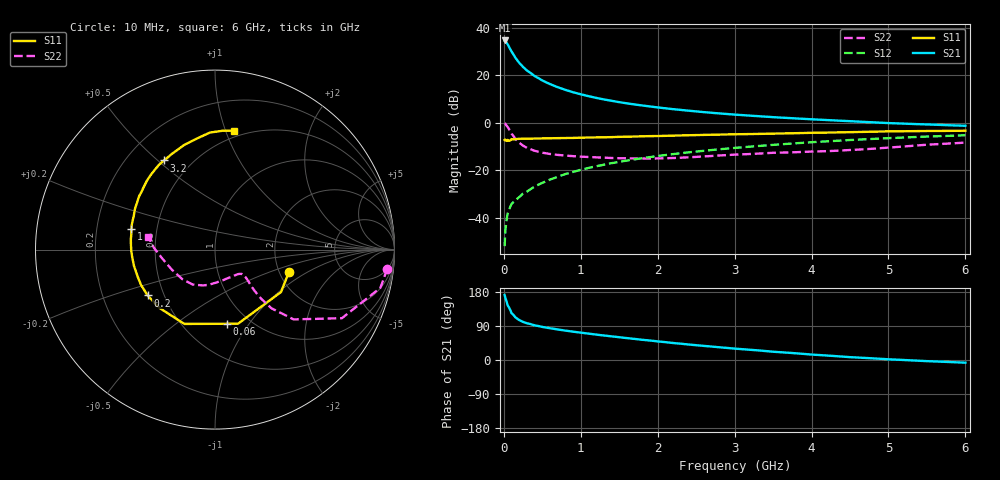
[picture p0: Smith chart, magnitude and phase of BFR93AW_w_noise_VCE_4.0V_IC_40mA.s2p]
! Infineon Technologies  Discrete & RF Semiconductors
! BFR93AW
! VCE =  4.0 V,  IC =  40 mA
! Common Emitter S-Parameters:  Jan 2017
# GHz  S  MA  R  50
!  f  S11  S21  S12  S22
! GHz  MAG  ANG  MAG  ANG  MAG  ANG  MAG  ANG
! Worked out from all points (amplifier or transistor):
!   77 points, 10 MHz to 6 GHz, reference 50 ohm
!   highest |S21| = 34.5 dB at 10 MHz (marker M1)
!   |S21| within 3 dB of that: start of sweep to 72.33 MHz
!   unconditionally stable (mu >= 1): 495.9 MHz to 2.042 GHz
!   at 130 MHz: K = 0.60, MSG = 30.9 dB, |S12| = -33.4 dB
!   at 2.2 GHz: K = 0.99, MSG = 9.5 dB, |S12| = -13.3 dB
!   at 6 GHz: K = 0.89, MSG = 2.0 dB, |S12| = -5.4 dB
!   lowest NFmin = 2.04 dB at 450 MHz
!   S11 on the Smith chart (normalised r, x): 10 MHz: 2.26, -0.68; 60 MHz: 0.79, -0.80; 200 MHz: 0.41, -0.26; 1 GHz: 0.36, +0.10; 3.2 GHz: 0.36, +0.52; 6 GHz: 0.44, +1.07
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0.01  0.4307 -16.6  53.38 171.6  0.0025 81.2  0.966 -6.3
0.02  0.4373 -32.8  52.73 163.9  0.0054 82.2  0.9458 -13.0
0.05  0.4325 -72.8  44.1 144.0  0.0122 67.5  0.8036 -28.4
0.06  0.4189 -80.6  41.19 141.0  0.0136 65.3  0.7575 -30.4
0.1  0.4479 -112.4  31.23 123.6  0.0192 59.7  0.5862 -41.6
0.15  0.4486 -133.4  23.09 112.5  0.0231 59.8  0.4537 -46.1
0.2  0.4542 -145.8  18.06 105.5  0.027 61.7  0.3754 -46.8
0.25  0.4567 -154.3  14.79 100.5  0.032 63.8  0.3263 -46.3
0.3  0.4564 -160.4  12.45 97.0  0.0351 65.3  0.2927 -45.5
0.4  0.4604 -168.5  9.523 91.5  0.0448 68.2  0.2543 -43.4
0.5  0.4634 -174.8  7.67 87.3  0.0538 69.2  0.232 -42.2
0.6  0.4668 -179.6  6.445 83.8  0.063 70.4  0.2179 -41.7
0.7  0.4693 176.4  5.544 80.7  0.0721 71.6  0.2085 -41.7
1  0.4796 166.4  3.934 72.2  0.1012 71.2  0.1914 -45.0
1.1  0.4839 163.4  3.593 69.7  0.1108 70.8  0.1884 -46.6
1.5  0.4995 153.5  2.686 60.1  0.1487 68.7  0.1773 -56.7
2.1  0.5246 140.2  1.994 47.1  0.207 63.9  0.1771 -78.3
3.1  0.5691 121.5  1.433 28.5  0.3014 54.4  0.214 -111.9
3.2  0.5721 119.7  1.397 27.0  0.3106 53.4  0.2175 -114.7
4.1  0.6109 104.9  1.149 13.1  0.3936 44.0  0.2472 -141.1
5.1  0.6542 91.2  0.961 1.0  0.4764 32.9  0.3049 -172.7
6  0.6713 80.9  0.854 -7.1  0.5395 22.8  0.3779 169.0
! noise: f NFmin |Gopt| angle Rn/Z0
0.45  2.04  0.23  -180  0.16
0.9  2.33  0.29  -170  0.17
1.9  3.4  0.52  -133  0.35
2.4  4.1  0.57  -123  0.66
